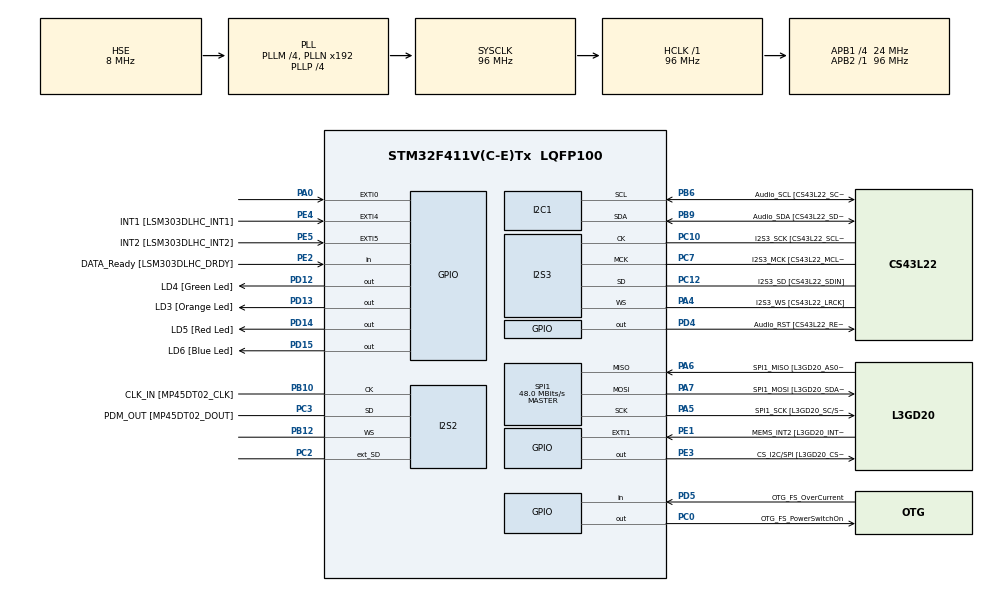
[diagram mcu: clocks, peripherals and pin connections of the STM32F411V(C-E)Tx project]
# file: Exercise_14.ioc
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FREERTOS.Tasks01=GreenTask,0,128,StartGreenTask,Default,NULL,Dynamic,NULL,NULL;RedTask,0,128,StartRedTask,Default,NULL,Dynamic,NULL,NULL;BlueTask,0,128,StartBlueTask,Default,NULL,Dynamic,NULL,NULL
I2S2.AudioFreq=I2S_AUDIOFREQ_96K
I2S2.ErrorAudioFreq=0.15 %
I2S2.FullDuplexMode=I2S_FULLDUPLEXMODE_ENABLE
I2S2.Instance=SPI$Index
I2S2.RealAudioFreq=96.153 KHz
I2S2.VirtualMode=I2S_MODE_MASTER
I2S3.AudioFreq=I2S_AUDIOFREQ_96K
I2S3.ErrorAudioFreq=-6.99 %
I2S3.FullDuplexMode=I2S_FULLDUPLEXMODE_DISABLE
I2S3.Instance=SPI$Index
I2S3.RealAudioFreq=89.285 KHz
I2S3.VirtualMode=I2S_MODE_MASTER
Mcu.Family=STM32F4
Mcu.Name=STM32F411V(C-E)Tx
Mcu.Package=LQFP100
NVIC.PriorityGroup=NVIC_PRIORITYGROUP_4
NVIC.TIM1_UP_TIM10_IRQn=true\:0\:0\:false\:false\:true\:false\:false\:true
NVIC.TimeBase=TIM1_UP_TIM10_IRQn
NVIC.TimeBaseIP=TIM1
PA0-WKUP.GPIO_ModeDefaultEXTI=GPIO_MODE_EVT_RISING
PA0-WKUP.Signal=GPXTI0
PA10.GPIO_Label=OTG_FS_ID
PA10.Signal=USB_OTG_FS_ID
PA11.GPIO_Label=OTG_FS_DM
PA11.Signal=USB_OTG_FS_DM
PA12.GPIO_Label=OTG_FS_DP
PA12.Signal=USB_OTG_FS_DP
PA13.GPIO_Label=SWDIO
PA13.Mode=Serial_Wire
PA13.Signal=SYS_JTMS-SWDIO
PA14.GPIO_Label=SWCLK
PA14.Mode=Serial_Wire
PA14.Signal=SYS_JTCK-SWCLK
PA4.GPIO_Label=I2S3_WS [CS43L22_LRCK]
PA4.GPIO_Mode=GPIO_MODE_AF_PP
PA4.GPIO_PuPd=GPIO_NOPULL
PA4.GPIO_Speed=GPIO_SPEED_FREQ_LOW
PA4.Mode=Half_Duplex_Master
PA4.Signal=I2S3_WS
PA5.GPIO_Label=SPI1_SCK [L3GD20_SC/SPC]
PA5.Mode=Full_Duplex_Master
PA5.Signal=SPI1_SCK
PA6.GPIO_Label=SPI1_MISO [L3GD20_AS0/SDO]
PA6.Mode=Full_Duplex_Master
PA6.Signal=SPI1_MISO
PA7.GPIO_Label=SPI1_MOSI [L3GD20_SDA/SDI/SDO]
PA7.Mode=Full_Duplex_Master
PA7.Signal=SPI1_MOSI
PA9.GPIO_Label=VBUS_FS
PA9.Signal=USB_OTG_FS_VBUS
PB10.GPIO_Label=CLK_IN [MP45DT02_CLK]
PB10.Mode=Full_Duplex_Master
PB10.Signal=I2S2_CK
PB12.Mode=Full_Duplex_Master
PB12.Signal=I2S2_WS
PB3.GPIO_Label=SWO
PB3.Signal=SYS_JTDO-SWO
PB6.GPIO_Label=Audio_SCL [CS43L22_SCL]
PB6.GPIO_Mode=GPIO_MODE_AF_OD
PB6.GPIO_PuPd=GPIO_NOPULL
PB6.GPIO_Speed=GPIO_SPEED_FREQ_LOW
PB6.Mode=I2C
PB6.Signal=I2C1_SCL
PB9.GPIO_Label=Audio_SDA [CS43L22_SDA]
PB9.GPIO_Mode=GPIO_MODE_AF_OD
PB9.GPIO_PuPd=GPIO_NOPULL
PB9.GPIO_Speed=GPIO_SPEED_FREQ_LOW
PB9.Mode=I2C
PB9.Signal=I2C1_SDA
PC0.GPIO_Label=OTG_FS_PowerSwitchOn
PC0.PinState=GPIO_PIN_SET
PC0.Signal=GPIO_Output
PC10.GPIO_Label=I2S3_SCK [CS43L22_SCLK]
PC10.GPIO_Mode=GPIO_MODE_AF_PP
PC10.GPIO_PuPd=GPIO_NOPULL
PC10.GPIO_Speed=GPIO_SPEED_FREQ_LOW
PC10.Mode=Half_Duplex_Master
PC10.Signal=I2S3_CK
PC12.GPIO_Label=I2S3_SD [CS43L22_SDIN]
PC12.GPIO_Mode=GPIO_MODE_AF_PP
PC12.GPIO_PuPd=GPIO_NOPULL
PC12.GPIO_Speed=GPIO_SPEED_FREQ_LOW
PC12.Mode=Half_Duplex_Master
PC12.Signal=I2S3_SD
PC14-OSC32_IN.GPIO_Label=PC14-OSC32_IN
PC14-OSC32_IN.Mode=LSE-External-Oscillator
PC14-OSC32_IN.Signal=RCC_OSC32_IN
PC15-OSC32_OUT.GPIO_Label=PC15-OSC32_OUT
PC15-OSC32_OUT.Mode=LSE-External-Oscillator
PC15-OSC32_OUT.Signal=RCC_OSC32_OUT
PC2.Mode=Full_Duplex_Master
PC2.Signal=I2S2_ext_SD
PC3.GPIO_Label=PDM_OUT [MP45DT02_DOUT]
PC3.Mode=Full_Duplex_Master
PC3.Signal=I2S2_SD
PC7.GPIO_Label=I2S3_MCK [CS43L22_MCLK]
PC7.GPIO_Mode=GPIO_MODE_AF_PP
PC7.GPIO_PuPd=GPIO_NOPULL
PC7.GPIO_Speed=GPIO_SPEED_FREQ_LOW
PC7.Mode=Master_Clock_Activated
PC7.Signal=I2S3_MCK
PD12.GPIO_Label=LD4 [Green Led]
PD12.GPIO_PuPd=GPIO_NOPULL
PD12.GPIO_Speed=GPIO_SPEED_FREQ_LOW
PD12.Signal=GPIO_Output
PD13.GPIO_Label=LD3 [Orange Led]
PD13.GPIO_PuPd=GPIO_NOPULL
PD13.GPIO_Speed=GPIO_SPEED_FREQ_LOW
PD13.Signal=GPIO_Output
PD14.GPIO_Label=LD5 [Red Led]
PD14.GPIO_PuPd=GPIO_NOPULL
PD14.GPIO_Speed=GPIO_SPEED_FREQ_LOW
PD14.Signal=GPIO_Output
PD15.GPIO_Label=LD6 [Blue Led]
PD15.GPIO_PuPd=GPIO_NOPULL
PD15.GPIO_Speed=GPIO_SPEED_FREQ_LOW
PD15.Signal=GPIO_Output
PD4.GPIO_Label=Audio_RST [CS43L22_RESET]
PD4.Signal=GPIO_Output
PD5.GPIO_Label=OTG_FS_OverCurrent
PD5.Signal=GPIO_Input
PE1.GPIO_Label=MEMS_INT2 [L3GD20_INT2]
PE1.GPIO_ModeDefaultEXTI=GPIO_MODE_EVT_RISING
PE1.Signal=GPXTI1
PE2.GPIO_Label=DATA_Ready [LSM303DLHC_DRDY]
PE2.Signal=GPIO_Input
PE3.GPIO_Label=CS_I2C/SPI [L3GD20_CS_I2C/SPI]
PE3.Signal=GPIO_Output
PE4.GPIO_Label=INT1 [LSM303DLHC_INT1]
PE4.GPIO_ModeDefaultEXTI=GPIO_MODE_EVT_RISING
PE4.Signal=GPXTI4
PE5.GPIO_Label=INT2 [LSM303DLHC_INT2]
PE5.GPIO_ModeDefaultEXTI=GPIO_MODE_EVT_RISING
PE5.Signal=GPXTI5
PH0\ -\ OSC_IN.GPIO_Label=PH0-OSC_IN
PH0\ -\ OSC_IN.Mode=HSE-External-Clock-Source
PH0\ -\ OSC_IN.Signal=RCC_OSC_IN
PH1\ -\ OSC_OUT.GPIO_Label=PH1-OSC_OUT
PH1\ -\ OSC_OUT.Mode=HSE-External-Clock-Source
PH1\ -\ OSC_OUT.Signal=RCC_OSC_OUT
ProjectManager.HeapSize=0x200
ProjectManager.StackSize=0x400
ProjectManager.TargetToolchain=STM32CubeIDE
RCC.48MHZClocksFreq_Value=48000000
RCC.AHBFreq_Value=96000000
RCC.APB1CLKDivider=RCC_HCLK_DIV4
RCC.APB1Freq_Value=24000000
RCC.APB1TimFreq_Value=48000000
RCC.APB2Freq_Value=96000000
RCC.APB2TimFreq_Value=96000000
RCC.CortexFreq_Value=96000000
RCC.HCLKFreq_Value=96000000
RCC.HSE_VALUE=8000000
RCC.HSI_VALUE=16000000
RCC.PLLI2SM=5
RCC.PLLI2SN=200
RCC.PLLM=4
RCC.PLLP=RCC_PLLP_DIV4
RCC.PLLQ=8
RCC.PLLSourceVirtual=RCC_PLLSOURCE_HSE
RCC.SYSCLKFreq_VALUE=96000000
RCC.SYSCLKSource=RCC_SYSCLKSOURCE_PLLCLK
RCC.VCOOutputFreq_Value=384000000
SPI1.BaudRatePrescaler=SPI_BAUDRATEPRESCALER_2
SPI1.CalculateBaudRate=48.0 MBits/s
SPI1.Direction=SPI_DIRECTION_2LINES
SPI1.Mode=SPI_MODE_MASTER
SPI1.VirtualType=VM_MASTER
VP_FREERTOS_VS_CMSIS_V1.Mode=CMSIS_V1
VP_SYS_VS_tim1.Mode=TIM1
board=STM32F411E-DISCO

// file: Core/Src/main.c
/* USER CODE BEGIN Header */
/**
  ******************************************************************************
  * @file           : main.c
  * @brief          : Main program body
  ******************************************************************************
  * @attention
  *
  * <h2><center>&copy; Copyright (c) 2023 STMicroelectronics.
  * All rights reserved.</center></h2>
  *
  * This software component is licensed by ST under Ultimate Liberty license
  * SLA0044, the "License"; You may not use this file except in compliance with
  * the License. You may obtain a copy of the License at:
  *                             www.st.com/SLA0044
  *
  ******************************************************************************
  */
/* USER CODE END Header */

#include "main.h"
#include "cmsis_os.h"

/* USER CODE BEGIN PD */
#define green GPIO_PIN_12
#define orange GPIO_PIN_13
#define red GPIO_PIN_14
#define blue GPIO_PIN_15
/* USER CODE END PD */

I2C_HandleTypeDef hi2c1;

I2S_HandleTypeDef hi2s2;
I2S_HandleTypeDef hi2s3;

SPI_HandleTypeDef hspi1;

osThreadId GreenTaskHandle;
osThreadId RedTaskHandle;
osThreadId BlueTaskHandle;

void SystemClock_Config(void);
static void MX_GPIO_Init(void);
static void MX_I2C1_Init(void);
static void MX_I2S2_Init(void);
static void MX_I2S3_Init(void);
static void MX_SPI1_Init(void);
void StartGreenTask(void const * argument);
void StartRedTask(void const * argument);
void StartBlueTask(void const * argument);

/* USER CODE BEGIN 0 */
const int32_t GreenSig = 0x01;
const int32_t RedSig = 0x02;
/* USER CODE END 0 */

int main(void)
{

  /* MCU Configuration--------------------------------------------------------*/

  /* Reset of all peripherals, Initializes the Flash interface and the Systick. */
  HAL_Init();

  /* Configure the system clock */
  SystemClock_Config();

  /* Initialize all configured peripherals */
  MX_GPIO_Init();
  MX_I2C1_Init();
  MX_I2S2_Init();
  MX_I2S3_Init();
  MX_SPI1_Init();

  /* Create the thread(s) */
  /* definition and creation of GreenTask */
  osThreadDef(GreenTask, StartGreenTask, osPriorityNormal, 0, 128);
  GreenTaskHandle = osThreadCreate(osThread(GreenTask), NULL);

  /* definition and creation of RedTask */
  osThreadDef(RedTask, StartRedTask, osPriorityNormal, 0, 128);
  RedTaskHandle = osThreadCreate(osThread(RedTask), NULL);

  /* definition and creation of BlueTask */
  osThreadDef(BlueTask, StartBlueTask, osPriorityNormal, 0, 128);
  BlueTaskHandle = osThreadCreate(osThread(BlueTask), NULL);

  /* Start scheduler */
  osKernelStart();

  /* We should never get here as control is now taken by the scheduler */

  /* Infinite loop */
  while (1)
  {

  }
}

void SystemClock_Config(void)
{
  RCC_OscInitTypeDef RCC_OscInitStruct = {0};
  RCC_ClkInitTypeDef RCC_ClkInitStruct = {0};
  RCC_PeriphCLKInitTypeDef PeriphClkInitStruct = {0};

  /** Configure the main internal regulator output voltage
  */
  __HAL_RCC_PWR_CLK_ENABLE();
  __HAL_PWR_VOLTAGESCALING_CONFIG(PWR_REGULATOR_VOLTAGE_SCALE1);
  /** Initializes the CPU, AHB and APB busses clocks
  */
  RCC_OscInitStruct.OscillatorType = RCC_OSCILLATORTYPE_HSE;
  RCC_OscInitStruct.HSEState = RCC_HSE_BYPASS;
  RCC_OscInitStruct.PLL.PLLState = RCC_PLL_ON;
  RCC_OscInitStruct.PLL.PLLSource = RCC_PLLSOURCE_HSE;
  RCC_OscInitStruct.PLL.PLLM = 4;
  RCC_OscInitStruct.PLL.PLLN = 192;
  RCC_OscInitStruct.PLL.PLLP = RCC_PLLP_DIV4;
  RCC_OscInitStruct.PLL.PLLQ = 8;
  if (HAL_RCC_OscConfig(&RCC_OscInitStruct) != HAL_OK)
  {
    Error_Handler();
  }
  /** Initializes the CPU, AHB and APB busses clocks
  */
  RCC_ClkInitStruct.ClockType = RCC_CLOCKTYPE_HCLK|RCC_CLOCKTYPE_SYSCLK
                              |RCC_CLOCKTYPE_PCLK1|RCC_CLOCKTYPE_PCLK2;
  RCC_ClkInitStruct.SYSCLKSource = RCC_SYSCLKSOURCE_PLLCLK;
  RCC_ClkInitStruct.AHBCLKDivider = RCC_SYSCLK_DIV1;
  RCC_ClkInitStruct.APB1CLKDivider = RCC_HCLK_DIV4;
  RCC_ClkInitStruct.APB2CLKDivider = RCC_HCLK_DIV1;

  if (HAL_RCC_ClockConfig(&RCC_ClkInitStruct, FLASH_LATENCY_3) != HAL_OK)
  {
    Error_Handler();
  }
  PeriphClkInitStruct.PeriphClockSelection = RCC_PERIPHCLK_I2S;
  PeriphClkInitStruct.PLLI2S.PLLI2SN = 200;
  PeriphClkInitStruct.PLLI2S.PLLI2SM = 5;
  PeriphClkInitStruct.PLLI2S.PLLI2SR = 2;
  if (HAL_RCCEx_PeriphCLKConfig(&PeriphClkInitStruct) != HAL_OK)
  {
    Error_Handler();
  }
}

static void MX_I2C1_Init(void)
{

  hi2c1.Instance = I2C1;
  hi2c1.Init.ClockSpeed = 100000;
  hi2c1.Init.DutyCycle = I2C_DUTYCYCLE_2;
  hi2c1.Init.OwnAddress1 = 0;
  hi2c1.Init.AddressingMode = I2C_ADDRESSINGMODE_7BIT;
  hi2c1.Init.DualAddressMode = I2C_DUALADDRESS_DISABLE;
  hi2c1.Init.OwnAddress2 = 0;
  hi2c1.Init.GeneralCallMode = I2C_GENERALCALL_DISABLE;
  hi2c1.Init.NoStretchMode = I2C_NOSTRETCH_DISABLE;
  if (HAL_I2C_Init(&hi2c1) != HAL_OK)
  {
    Error_Handler();
  }

}

static void MX_I2S2_Init(void)
{

  hi2s2.Instance = SPI2;
  hi2s2.Init.Mode = I2S_MODE_MASTER_TX;
  hi2s2.Init.Standard = I2S_STANDARD_PHILIPS;
  hi2s2.Init.DataFormat = I2S_DATAFORMAT_16B;
  hi2s2.Init.MCLKOutput = I2S_MCLKOUTPUT_DISABLE;
  hi2s2.Init.AudioFreq = I2S_AUDIOFREQ_96K;
  hi2s2.Init.CPOL = I2S_CPOL_LOW;
  hi2s2.Init.ClockSource = I2S_CLOCK_PLL;
  hi2s2.Init.FullDuplexMode = I2S_FULLDUPLEXMODE_ENABLE;
  if (HAL_I2S_Init(&hi2s2) != HAL_OK)
  {
    Error_Handler();
  }

}

static void MX_I2S3_Init(void)
{

  hi2s3.Instance = SPI3;
  hi2s3.Init.Mode = I2S_MODE_MASTER_TX;
  hi2s3.Init.Standard = I2S_STANDARD_PHILIPS;
  hi2s3.Init.DataFormat = I2S_DATAFORMAT_16B;
  hi2s3.Init.MCLKOutput = I2S_MCLKOUTPUT_ENABLE;
  hi2s3.Init.AudioFreq = I2S_AUDIOFREQ_96K;
  hi2s3.Init.CPOL = I2S_CPOL_LOW;
  hi2s3.Init.ClockSource = I2S_CLOCK_PLL;
  hi2s3.Init.FullDuplexMode = I2S_FULLDUPLEXMODE_DISABLE;
  if (HAL_I2S_Init(&hi2s3) != HAL_OK)
  {
    Error_Handler();
  }

}

static void MX_SPI1_Init(void)
{

  /* SPI1 parameter configuration*/
  hspi1.Instance = SPI1;
  hspi1.Init.Mode = SPI_MODE_MASTER;
  hspi1.Init.Direction = SPI_DIRECTION_2LINES;
  hspi1.Init.DataSize = SPI_DATASIZE_8BIT;
  hspi1.Init.CLKPolarity = SPI_POLARITY_LOW;
  hspi1.Init.CLKPhase = SPI_PHASE_1EDGE;
  hspi1.Init.NSS = SPI_NSS_SOFT;
  hspi1.Init.BaudRatePrescaler = SPI_BAUDRATEPRESCALER_2;
  hspi1.Init.FirstBit = SPI_FIRSTBIT_MSB;
  hspi1.Init.TIMode = SPI_TIMODE_DISABLE;
  hspi1.Init.CRCCalculation = SPI_CRCCALCULATION_DISABLE;
  hspi1.Init.CRCPolynomial = 10;
  if (HAL_SPI_Init(&hspi1) != HAL_OK)
  {
    Error_Handler();
  }

}

static void MX_GPIO_Init(void)
{
  GPIO_InitTypeDef GPIO_InitStruct = {0};

  /* GPIO Ports Clock Enable */
  __HAL_RCC_GPIOE_CLK_ENABLE();
  __HAL_RCC_GPIOC_CLK_ENABLE();
  __HAL_RCC_GPIOH_CLK_ENABLE();
  __HAL_RCC_GPIOA_CLK_ENABLE();
  __HAL_RCC_GPIOB_CLK_ENABLE();
  __HAL_RCC_GPIOD_CLK_ENABLE();

  /*Configure GPIO pin Output Level */
  HAL_GPIO_WritePin(CS_I2C_SPI_GPIO_Port, CS_I2C_SPI_Pin, GPIO_PIN_RESET);

  /*Configure GPIO pin Output Level */
  HAL_GPIO_WritePin(OTG_FS_PowerSwitchOn_GPIO_Port, OTG_FS_PowerSwitchOn_Pin, GPIO_PIN_SET);

  /*Configure GPIO pin Output Level */
  HAL_GPIO_WritePin(GPIOD, LD4_Pin|LD3_Pin|LD5_Pin|LD6_Pin
                          |Audio_RST_Pin, GPIO_PIN_RESET);

  /*Configure GPIO pin : DATA_Ready_Pin */
  GPIO_InitStruct.Pin = DATA_Ready_Pin;
  GPIO_InitStruct.Mode = GPIO_MODE_INPUT;
  GPIO_InitStruct.Pull = GPIO_NOPULL;
  HAL_GPIO_Init(DATA_Ready_GPIO_Port, &GPIO_InitStruct);

  /*Configure GPIO pin : CS_I2C_SPI_Pin */
  GPIO_InitStruct.Pin = CS_I2C_SPI_Pin;
  GPIO_InitStruct.Mode = GPIO_MODE_OUTPUT_PP;
  GPIO_InitStruct.Pull = GPIO_NOPULL;
  GPIO_InitStruct.Speed = GPIO_SPEED_FREQ_LOW;
  HAL_GPIO_Init(CS_I2C_SPI_GPIO_Port, &GPIO_InitStruct);

  /*Configure GPIO pins : INT1_Pin INT2_Pin MEMS_INT2_Pin */
  GPIO_InitStruct.Pin = INT1_Pin|INT2_Pin|MEMS_INT2_Pin;
  GPIO_InitStruct.Mode = GPIO_MODE_EVT_RISING;
  GPIO_InitStruct.Pull = GPIO_NOPULL;
  HAL_GPIO_Init(GPIOE, &GPIO_InitStruct);

  /*Configure GPIO pin : OTG_FS_PowerSwitchOn_Pin */
  GPIO_InitStruct.Pin = OTG_FS_PowerSwitchOn_Pin;
  GPIO_InitStruct.Mode = GPIO_MODE_OUTPUT_PP;
  GPIO_InitStruct.Pull = GPIO_NOPULL;
  GPIO_InitStruct.Speed = GPIO_SPEED_FREQ_LOW;
  HAL_GPIO_Init(OTG_FS_PowerSwitchOn_GPIO_Port, &GPIO_InitStruct);

  /*Configure GPIO pin : PA0 */
  GPIO_InitStruct.Pin = GPIO_PIN_0;
  GPIO_InitStruct.Mode = GPIO_MODE_EVT_RISING;
  GPIO_InitStruct.Pull = GPIO_NOPULL;
  HAL_GPIO_Init(GPIOA, &GPIO_InitStruct);

  /*Configure GPIO pins : LD4_Pin LD3_Pin LD5_Pin LD6_Pin
                           Audio_RST_Pin */
  GPIO_InitStruct.Pin = LD4_Pin|LD3_Pin|LD5_Pin|LD6_Pin
                          |Audio_RST_Pin;
  GPIO_InitStruct.Mode = GPIO_MODE_OUTPUT_PP;
  GPIO_InitStruct.Pull = GPIO_NOPULL;
  GPIO_InitStruct.Speed = GPIO_SPEED_FREQ_LOW;
  HAL_GPIO_Init(GPIOD, &GPIO_InitStruct);

  /*Configure GPIO pin : VBUS_FS_Pin */
  GPIO_InitStruct.Pin = VBUS_FS_Pin;
  GPIO_InitStruct.Mode = GPIO_MODE_INPUT;
  GPIO_InitStruct.Pull = GPIO_NOPULL;
  HAL_GPIO_Init(VBUS_FS_GPIO_Port, &GPIO_InitStruct);

  /*Configure GPIO pins : OTG_FS_ID_Pin OTG_FS_DM_Pin OTG_FS_DP_Pin */
  GPIO_InitStruct.Pin = OTG_FS_ID_Pin|OTG_FS_DM_Pin|OTG_FS_DP_Pin;
  GPIO_InitStruct.Mode = GPIO_MODE_AF_PP;
  GPIO_InitStruct.Pull = GPIO_NOPULL;
  GPIO_InitStruct.Speed = GPIO_SPEED_FREQ_VERY_HIGH;
  GPIO_InitStruct.Alternate = GPIO_AF10_OTG_FS;
  HAL_GPIO_Init(GPIOA, &GPIO_InitStruct);

  /*Configure GPIO pin : OTG_FS_OverCurrent_Pin */
  GPIO_InitStruct.Pin = OTG_FS_OverCurrent_Pin;
  GPIO_InitStruct.Mode = GPIO_MODE_INPUT;
  GPIO_InitStruct.Pull = GPIO_NOPULL;
  HAL_GPIO_Init(OTG_FS_OverCurrent_GPIO_Port, &GPIO_InitStruct);

}

void StartGreenTask(void const * argument)
{
  /* USER CODE BEGIN 5 */
  /* Infinite loop */
  for(;;)
  {
  osSignalWait(GreenSig, osWaitForever); // waits for signal from Blue Task

	  for(int i = 0; i <= 50; i++) // Flash green led for 5 sec @ 10 Hz
	{
		HAL_GPIO_WritePin(GPIOD, green, GPIO_PIN_SET);
		osDelay(50);
		HAL_GPIO_WritePin(GPIOD, green, GPIO_PIN_RESET);
		osDelay(50);
	}
  }
  /* USER CODE END 5 */
}

void StartRedTask(void const * argument)
{
  /* USER CODE BEGIN StartRedTask */
  /* Infinite loop */
  for(;;)
  {
    osSignalWait(RedSig, osWaitForever); // waits for signal from Blue Task

    for(int i = 0; i <= 50; i++) // Flash blue led for 5 sec @ 10 Hz
	{
		HAL_GPIO_WritePin(GPIOD, red, GPIO_PIN_SET);
		osDelay(50);
		HAL_GPIO_WritePin(GPIOD, red, GPIO_PIN_RESET);
		osDelay(50);
	}
  }
  /* USER CODE END StartRedTask */
}

void StartBlueTask(void const * argument)
{
  /* USER CODE BEGIN StartBlueTask */
  /* Infinite loop */
  for(;;)
  {
  for(int i = 0; i <= 10; i++) // Flash blue led for 10 sec @ 10 Hz
	{
		HAL_GPIO_WritePin(GPIOD, blue, GPIO_PIN_SET);
		osDelay(500);
		HAL_GPIO_WritePin(GPIOD, blue, GPIO_PIN_RESET);
		osDelay(500);
	}

  osSignalSet(GreenTaskHandle,GreenSig); // Send Signal to Green Task

  osDelay(6000); // delay 6 sec

  osSignalSet(RedTaskHandle,RedSig); // Send Signal to Red Task
  }
  /* USER CODE END StartBlueTask */
}

void HAL_TIM_PeriodElapsedCallback(TIM_HandleTypeDef *htim)
{
  if (htim->Instance == TIM1) {
    HAL_IncTick();
  }
}

void Error_Handler(void)
{
}

/************************ (C) COPYRIGHT STMicroelectronics *****END OF FILE****/
